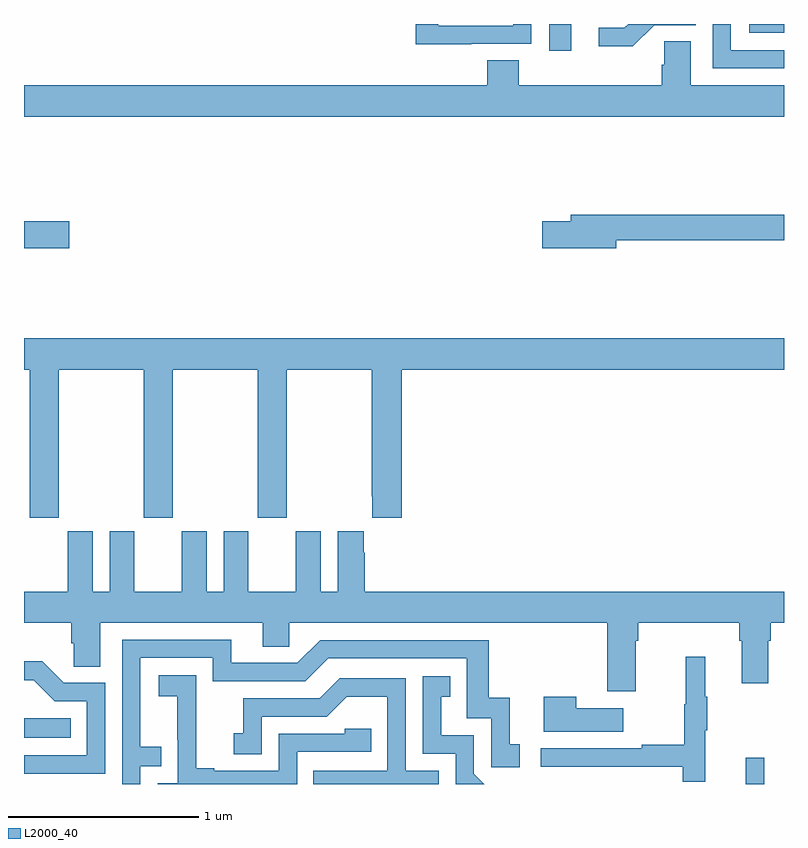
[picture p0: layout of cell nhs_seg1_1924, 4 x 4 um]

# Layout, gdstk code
import gdstk
lib = gdstk.Library(unit=1e-6, precision=1e-09)
def R(c, l, rs):  # rectangles x0, y0, x1, y1
    for r in rs: c.add(gdstk.rectangle(r[:2], r[2:], *l))
def P(c, l, *ps):  # polygons
    for p in ps: c.add(gdstk.Polygon(p, *l))
L2000_40 = (2000, 40)

nhs_seg1_1924 = lib.new_cell('nhs_seg1_1924')
R(nhs_seg1_1924, L2000_40, [(218.799,568.199,218.896,568.336), (215,568.442,215.246,568.546), (215,571.018,215.239,571.16), (217.764,572.058,217.879,572.199), (218.817,572.153,219,572.199)])
P(nhs_seg1_1924, L2000_40, [(219,572.061),(218.721,572.061),(218.721,572.199),(218.625,572.199),(218.625,571.965),(219,571.965)],
  [(218.316,572.193),(218.535,572.193),(218.535,572.199),(218.18,572.199),(218.159,572.178),(218.025,572.178),(218.025,572.081),(218.203,572.081)],
  [(217.355,572.094),(217.671,572.094),(217.671,572.199),(217.575,572.199),(217.575,572.19),(217.179,572.19),(217.179,572.199),(217.063,572.199),(217.063,572.093),(217.355,572.093)],
  [(219,571.876),(218.509,571.876),(218.509,572.108),(218.37,572.108),(218.37,571.985),(218.357,571.985),(218.357,571.876),(217.604,571.876),(217.604,572.009),(217.439,572.009),(217.439,571.876),(215,571.876),(215,571.712),(219,571.712)],
  [(218.116,571.06),(219,571.06),(219,571.196),(217.877,571.196),(217.877,571.16),(217.728,571.16),(217.728,571.018),(218.116,571.018)],
  [(215.184,570.38),(215.629,570.38),(215.629,569.601),(215.784,569.601),(215.784,570.38),(216.229,570.38),(216.229,569.601),(216.384,569.601),(216.384,570.38),(216.829,570.38),(216.829,569.713),(216.833,569.713),(216.833,569.601),(216.989,569.601),(216.989,570.38),(219,570.38),(219,570.544),(215,570.544),(215,570.38),(215.029,570.38),(215.029,569.601),(215.184,569.601)],
  [(218.221,568.952),(218.234,568.952),(218.234,569.048),(218.765,569.048),(218.765,568.952),(218.777,568.952),(218.777,568.728),(218.917,568.728),(218.917,568.952),(218.93,568.952),(218.93,569.048),(219,569.048),(219,569.212),(216.794,569.212),(216.794,569.417),(216.787,569.417),(216.787,569.53),(216.65,569.53),(216.65,569.212),(216.562,569.212),(216.562,569.53),(216.431,569.53),(216.431,569.212),(216.181,569.212),(216.181,569.53),(216.05,569.53),(216.05,569.212),(215.962,569.212),(215.962,569.53),(215.831,569.53),(215.831,569.212),(215.581,569.212),(215.581,569.53),(215.45,569.53),(215.45,569.212),(215.362,569.212),(215.362,569.53),(215.231,569.53),(215.231,569.212),(215,569.212),(215,569.048),(215.249,569.048),(215.249,568.939),(215.262,568.939),(215.262,568.816),(215.401,568.816),(215.401,569.048),(216.257,569.048),(216.257,568.921),(216.396,568.921),(216.396,569.048),(218.069,569.048),(218.069,568.686),(218.221,568.686)],
  [(215.613,568.293),(215.723,568.293),(215.723,568.394),(215.613,568.394),(215.613,568.863),(215.994,568.863),(215.994,568.74),(216.48,568.74),(216.6,568.86),(217.329,568.86),(217.329,568.545),(217.458,568.545),(217.458,568.287),(217.609,568.287),(217.609,568.407),(217.556,568.407),(217.556,568.654),(217.445,568.654),(217.445,568.956),(216.558,568.956),(216.438,568.836),(216.091,568.836),(216.091,568.959),(215.517,568.959),(215.517,568.199),(215.613,568.199)],
  [(218.585,568.483),(218.596,568.483),(218.596,568.657),(218.585,568.657),(218.585,568.87),(218.482,568.87),(218.482,568.62),(218.475,568.62),(218.475,568.406),(218.251,568.406),(218.251,568.386),(217.719,568.386),(217.719,568.29),(218.467,568.29),(218.467,568.212),(218.585,568.212)],
  [(215.427,568.731),(215.208,568.731),(215.095,568.844),(215,568.844),(215,568.746),(215.051,568.746),(215.162,568.635),(215.331,568.635),(215.331,568.35),(215,568.35),(215,568.254),(215.427,568.254)],
  [(216.438,568.368),(216.827,568.368),(216.827,568.491),(216.687,568.491),(216.687,568.464),(216.342,568.464),(216.342,568.269),(216.001,568.269),(216.001,568.282),(215.906,568.282),(215.906,568.565),(215.907,568.565),(215.907,568.771),(215.709,568.771),(215.709,568.661),(215.807,568.661),(215.807,568.433),(215.808,568.433),(215.808,568.203),(215.703,568.203),(215.703,568.199),(216.438,568.199)],
  [(217.368,568.254),(217.368,568.455),(217.195,568.455),(217.195,568.659),(217.244,568.659),(217.244,568.765),(217.098,568.765),(217.098,568.359),(217.272,568.359),(217.272,568.199),(217.423,568.199)],
  [(217.182,568.269),(217.008,568.269),(217.008,568.755),(216.662,568.755),(216.557,568.65),(216.154,568.65),(216.154,568.465),(216.105,568.465),(216.105,568.356),(216.252,568.356),(216.252,568.554),(216.594,568.554),(216.698,568.658),(216.912,568.658),(216.912,568.269),(216.523,568.269),(216.523,568.199),(217.182,568.199)],
  [(218.155,568.597),(217.907,568.597),(217.907,568.657),(217.736,568.657),(217.736,568.475),(218.155,568.475)])

lib.write_gds('nhs_seg1_1924.gds')
